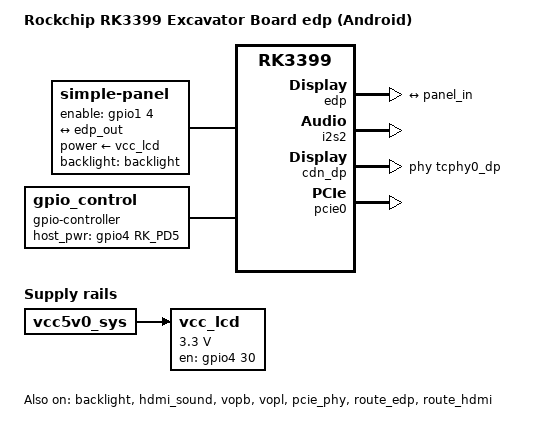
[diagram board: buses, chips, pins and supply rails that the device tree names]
/*
 * Copyright (c) 2018 Fuzhou Rockchip Electronics Co., Ltd
 *
 * This file is dual-licensed: you can use it either under the terms
 * of the GPL or the X11 license, at your option. Note that this dual
 * licensing only applies to this file, and not this project as a
 * whole.
 *
 *  a) This file is free software; you can redistribute it and/or
 *     modify it under the terms of the GNU General Public License as
 *     published by the Free Software Foundation; either version 2 of the
 *     License, or (at your option) any later version.
 *
 *     This file is distributed in the hope that it will be useful,
 *     but WITHOUT ANY WARRANTY; without even the implied warranty of
 *     MERCHANTABILITY or FITNESS FOR A PARTICULAR PURPOSE.  See the
 *     GNU General Public License for more details.
 *
 * Or, alternatively,
 *
 *  b) Permission is hereby granted, free of charge, to any person
 *     obtaining a copy of this software and associated documentation
 *     files (the "Software"), to deal in the Software without
 *     restriction, including without limitation the rights to use,
 *     copy, modify, merge, publish, distribute, sublicense, and/or
 *     sell copies of the Software, and to permit persons to whom the
 *     Software is furnished to do so, subject to the following
 *     conditions:
 *
 *     The above copyright notice and this permission notice shall be
 *     included in all copies or substantial portions of the Software.
 *
 *     THE SOFTWARE IS PROVIDED "AS IS", WITHOUT WARRANTY OF ANY KIND,
 *     EXPRESS OR IMPLIED, INCLUDING BUT NOT LIMITED TO THE WARRANTIES
 *     OF MERCHANTABILITY, FITNESS FOR A PARTICULAR PURPOSE AND
 *     NONINFRINGEMENT. IN NO EVENT SHALL THE AUTHORS OR COPYRIGHT
 *     HOLDERS BE LIABLE FOR ANY CLAIM, DAMAGES OR OTHER LIABILITY,
 *     WHETHER IN AN ACTION OF CONTRACT, TORT OR OTHERWISE, ARISING
 *     FROM, OUT OF OR IN CONNECTION WITH THE SOFTWARE OR THE USE OR
 *     OTHER DEALINGS IN THE SOFTWARE.
 */

/dts-v1/;

#include "rk3399-excavator-sapphire.dtsi"
#include "rk3399-android.dtsi"
#include "rk3399-vop-clk-set.dtsi"

/ {

	model = "Rockchip RK3399 Excavator Board edp (Android)";
	compatible = "rockchip,android", "rockchip,rk3399-excavator-edp", "rockchip,rk3399";

	vcc_lcd: vcc-lcd {
		compatible = "regulator-fixed";
		regulator-name = "vcc_lcd";
		gpio = <&gpio4 30 GPIO_ACTIVE_HIGH>;
		startup-delay-us = <20000>;
		enable-active-high;
		regulator-min-microvolt = <3300000>;
		regulator-max-microvolt = <3300000>;
		regulator-boot-on;
		vin-supply = <&vcc5v0_sys>;
	};

	panel: panel {
		compatible = "simple-panel";
		backlight = <&backlight>;
		power-supply = <&vcc_lcd>;
		enable-gpios = <&gpio1 4 GPIO_ACTIVE_HIGH>;	//GPIO1_A4
		prepare-delay-ms = <20>;
		enable-delay-ms = <20>;

		display-timings {
			native-mode = <&timing0>;

			timing0: timing0 {
				clock-frequency = <150000000>;
				hactive = <1920>;
				vactive = <1200>;
				hback-porch = <32>;
				hfront-porch = <16>;
				vback-porch = <18>;
				vfront-porch = <15>;
				hsync-len = <16>;
				vsync-len = <2>;
				hsync-active = <0>;
				vsync-active = <0>;
				de-active = <0>;
				pixelclk-active = <1>;
				swap-rb = <0>;
				swap-rg = <0>;
				swap-gb = <0>;
							
/*			
				clock-frequency = <200000000>;
				hactive = <1536>;
				vactive = <2048>;
				hfront-porch = <12>;
				hsync-len = <16>;
				hback-porch = <48>;
				vfront-porch = <8>;
				vsync-len = <4>;
				vback-porch = <8>;
				hsync-active = <0>;
				vsync-active = <0>;
				de-active = <0>;
				pixelclk-active = <0>;
*/				
			};
		};

		ports {
			panel_in: endpoint {
				remote-endpoint = <&edp_out>;
			};
		};
	};

	test-power {
		status = "okay";
	};

	gpio-controller {
		compatible = "gpio_control";
		host_pwr = <&gpio4 RK_PD5 GPIO_ACTIVE_HIGH>;			//Host power
				
		status = "ok";
	};

};

&backlight {
	status = "okay";
//	enable-gpios = <&gpio4 29 GPIO_ACTIVE_HIGH>;
};

&edp {
	status = "okay";
	force-hpd;

	ports {
		port@1 {
			reg = <1>;

			edp_out: endpoint {
				remote-endpoint = <&panel_in>;
			};
		};
	};
};

&edp_in_vopl {
	status = "disabled";
};

&hdmi_in_vopb {
	status = "disabled";
};

&dp_sound {
	status = "disabled";	//"okay";	//
};

&hdmi_dp_sound {
	status = "disabled";	//"okay";	//
};

&i2s2 {
	status = "okay";
};

&hdmi_sound {
	status = "okay";
};

&cdn_dp {
	status = "okay";
	extcon = <&fusb0>;
	phys = <&tcphy0_dp>;
};

&dp_in_vopb {
	status = "disabled";
};

&i2c4 {
	status = "disabled";	//"okay";

	sgm3784: sgm3784@30 {
		#address-cells = <1>;
		#size-cells = <0>;
		compatible = "sgmicro,gsm3784";
		reg = <0x30>;
		rockchip,camera-module-index = <0>;
		rockchip,camera-module-facing = "back";
		enable-gpio = <&gpio2 RK_PB4 GPIO_ACTIVE_HIGH>;
		strobe-gpio = <&gpio1 RK_PA3 GPIO_ACTIVE_HIGH>;
		status = "okay";
		sgm3784_led0: led@0 {
			reg = <0x0>;
			led-max-microamp = <299200>;
			flash-max-microamp = <1122000>;
			flash-max-timeout-us = <1600000>;
		};

		sgm3784_led1: led@1 {
			reg = <0x1>;
			led-max-microamp = <299200>;
			flash-max-microamp = <1122000>;
			flash-max-timeout-us = <1600000>;
		};
	};

	vm149c: vm149c@0c {
		compatible = "silicon touch,vm149c";
		status = "okay";
		reg = <0x0c>;
		rockchip,camera-module-index = <0>;
		rockchip,camera-module-facing = "back";
	};

	gc2145: gc2145@3c{
		status = "okay";
		compatible = "galaxycore,gc2145";
		reg = <0x3c>;
		pinctrl-names = "default";
		pinctrl-0 = <&cif_clkout>;

		clocks = <&cru SCLK_CIF_OUT>;
		clock-names = "xvclk";

		/* avdd-supply = <>; */
		/* dvdd-supply = <>; */
		/* dovdd-supply = <>; */
		pwdn-gpios = <&gpio2 28 GPIO_ACTIVE_HIGH>;	//ok
		rockchip,camera-module-index = <1>;
		rockchip,camera-module-facing = "front";
		rockchip,camera-module-name = "CameraKing";
		rockchip,camera-module-lens-name = "Largan";
		port {
			gc2145_out: endpoint {
				remote-endpoint = <&dvp_in_fcam>;
			};
		};
	};

	vm149c: vm149c@0c {
		compatible = "silicon touch,vm149c";
		status = "okay";
		reg = <0x0c>;
		rockchip,camera-module-index = <0>;
		rockchip,camera-module-facing = "back";
	};

	ov13850: ov13850@10 {
		compatible = "ovti,ov13850";
		status = "okay";
		reg = <0x10>;
		clocks = <&cru SCLK_CIF_OUT>;
		clock-names = "xvclk";
		/* avdd-supply = <>; */
		/* dvdd-supply = <>; */
		/* dovdd-supply = <>; */
		/* reset-gpios = <>; */
		reset-gpios = <&gpio2 10 GPIO_ACTIVE_HIGH>; // conflict with csi-ctl-gpios
		pwdn-gpios = <&gpio1 4 GPIO_ACTIVE_HIGH>;
		pinctrl-names = "rockchip,camera_default";
		pinctrl-0 = <&cif_clkout>;

		rockchip,camera-module-index = <0>;
		rockchip,camera-module-facing = "back";
		rockchip,camera-module-name = "CMK-CT0116";
		rockchip,camera-module-lens-name = "Largan-50013A1";
		lens-focus = <&vm149c>;
		flash-leds = <&sgm3784_led0 &sgm3784_led1>;

		port {
			ucam_out0: endpoint {
				remote-endpoint = <&mipi_in_ucam0>;
				//remote-endpoint = <&mipi_in_ucam1>;
				data-lanes = <1 2>;
			};
		};
	};
	
};


&isp0_mmu {
	status = "okay";
};

&isp1_mmu {
	status = "okay";
};

&mipi_dphy_rx0 {
	status = "disabled";

	ports {
		#address-cells = <1>;
		#size-cells = <0>;

		port@0 {
			reg = <0>;
			#address-cells = <1>;
			#size-cells = <0>;

			mipi_in_ucam0: endpoint@1 {
				reg = <1>;
				remote-endpoint = <&ucam_out0>;
				data-lanes = <1 2>;
			};
		};

		port@1 {
			reg = <1>;
			#address-cells = <1>;
			#size-cells = <0>;

			dphy_rx0_out: endpoint@0 {
				reg = <0>;
				remote-endpoint = <&isp0_mipi_in>;
			};
		};
	};
};

&mipi_dphy_tx1rx1 {
	status = "disabled";

	ports {
		#address-cells = <1>;
		#size-cells = <0>;

		port@0 {
			reg = <0>;
			#address-cells = <1>;
			#size-cells = <0>;

			mipi_in_ucam1: endpoint@1 {
				reg = <1>;
				//remote-endpoint = <&ucam_out1>;
				data-lanes = <1 2>;
			};
		};

		port@1 {
			reg = <1>;
			#address-cells = <1>;
			#size-cells = <0>;

			dphy_tx1rx1_out: endpoint@0 {
				reg = <0>;
				remote-endpoint = <&isp1_mipi_in>;
			};
		};
	};
};

&vopb {
	status = "okay";
	assigned-clocks = <&cru DCLK_VOP0_DIV>;
	assigned-clock-parents = <&cru PLL_CPLL>;
};

&vopl {
	status = "okay";
	assigned-clocks = <&cru DCLK_VOP1_DIV>;
	assigned-clock-parents = <&cru PLL_VPLL>;
};

&pcie_phy {
	status = "okay";
};

&pcie0 {
	status = "okay";
};

&rkisp1_0 {
	status = "disabled";

	port {
		#address-cells = <1>;
		#size-cells = <0>;

		isp0_mipi_in: endpoint@0 {
			reg = <0>;
			remote-endpoint = <&dphy_rx0_out>;
		};
	};
};

&rkisp1_1 {
	status = "disabled";

	port {
		#address-cells = <1>;
		#size-cells = <0>;

		isp1_mipi_in: endpoint@0 {
			reg = <0>;
			remote-endpoint = <&dphy_tx1rx1_out>;
		};
		dvp_in_fcam: endpoint@1 {
			reg = <1>;
			remote-endpoint = <&gc2145_out>;
		};
	};
};

&route_edp {
	status = "okay";
};

&route_hdmi {
	status = "okay";
	connect = <&vopl_out_hdmi>;
};

&pinctrl {
	lcd-panel {
		lcd_panel_reset: lcd-panel-reset {
			rockchip,pins = <4 RK_PD6 RK_FUNC_GPIO &pcfg_pull_up>;
		};
	};

};

